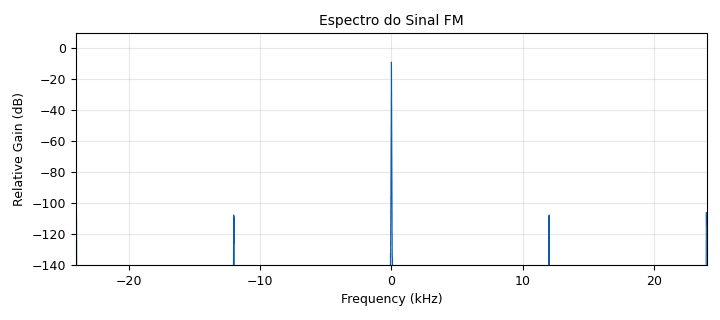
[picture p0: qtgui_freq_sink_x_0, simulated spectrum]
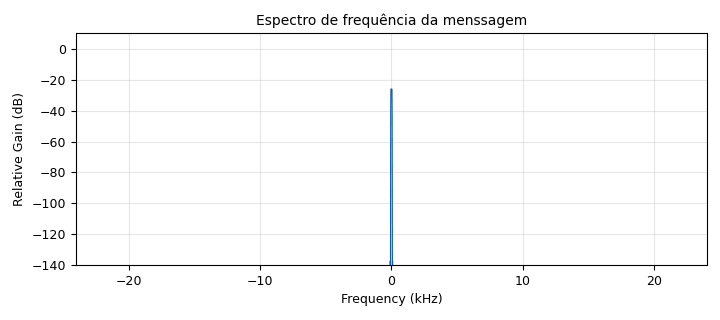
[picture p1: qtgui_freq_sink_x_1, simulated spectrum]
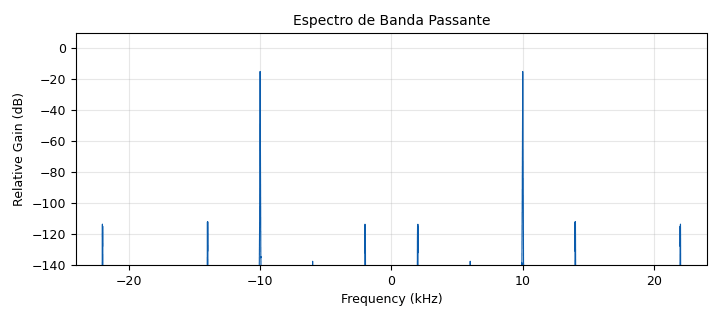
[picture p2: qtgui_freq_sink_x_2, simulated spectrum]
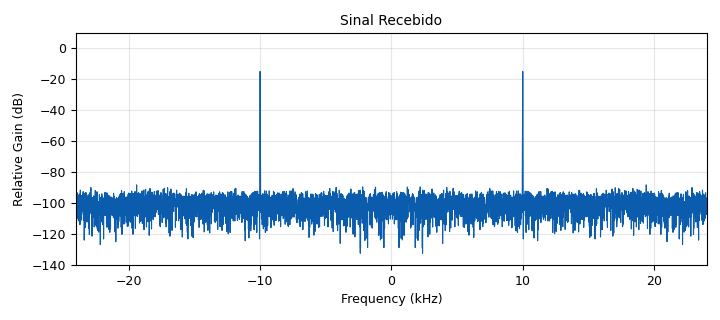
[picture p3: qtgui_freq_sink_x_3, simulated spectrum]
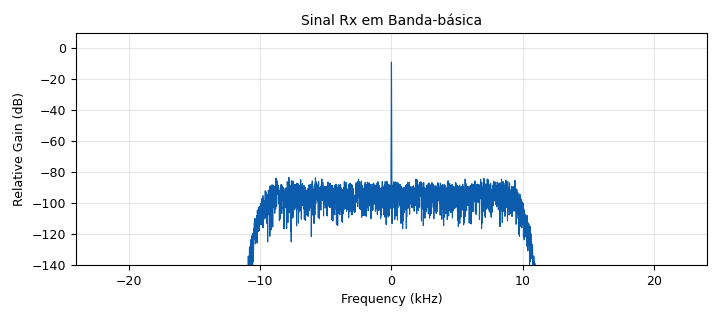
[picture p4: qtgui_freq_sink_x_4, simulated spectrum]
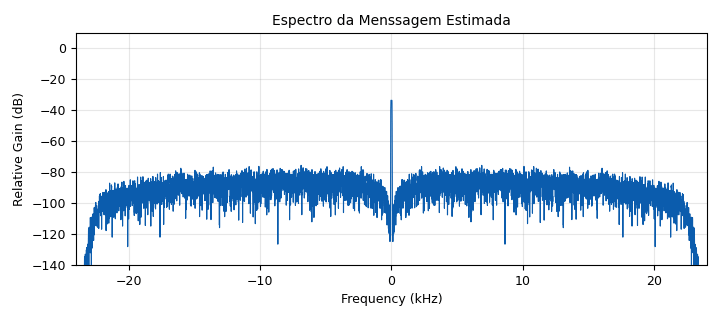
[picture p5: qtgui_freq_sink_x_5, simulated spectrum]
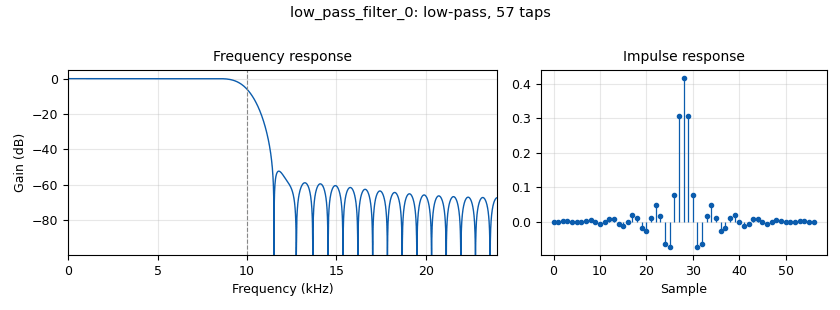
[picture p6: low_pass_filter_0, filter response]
options:
  parameters:
    author: Daniel C. Araújo
    generate_options: qt_gui
    id: aula_13
    output_language: python
    title: Aula 13 - Modulação FM
  states: {}

blocks:
- name: B
  id: variable
  parameters:
    value: '100/3.14 '
  states: {}
- name: SNR_dB
  id: variable_qtgui_range
  parameters:
    label: SNR (dB)
    start: '10'
    step: '1'
    stop: '100'
    value: '50'
  states: {}
- name: W
  id: variable
  parameters:
    value: 10e3
  states: {}
- name: decimation
  id: variable
  parameters:
    value: '4'
  states: {}
- name: f_c
  id: variable
  parameters:
    value: 10e3
  states: {}
- name: k_f
  id: variable_qtgui_range
  parameters:
    label: constante de proporcionalidade FM
    start: '10'
    step: '1'
    stop: '200'
    value: '10'
  states: {}
- name: menssagem_dB
  id: variable_qtgui_range
  parameters:
    label: Ganho da mensagem
    start: '0'
    step: '1'
    stop: '100'
    value: '50'
  states: {}
- name: nPoints
  id: variable
  parameters:
    value: int(2*t_max*samp_rate)
  states: {}
- name: n_amplitude
  id: variable
  parameters:
    value: 10**(-SNR_dB/20)
  states: {}
- name: samp_rate
  id: variable
  parameters:
    value: '48000'
  states: {}
- name: t_max
  id: variable
  parameters:
    value: '0.1'
  states: {}
- name: analog_noise_source_x_0
  id: analog_noise_source_x
  parameters:
    amp: n_amplitude
    noise_type: analog.GR_GAUSSIAN
    seed: '0'
    type: complex
  states: {}
- name: analog_sig_source_x_0
  id: analog_sig_source_x
  parameters:
    amp: '1'
    freq: f_c
    offset: '0'
    phase: '0'
    samp_rate: samp_rate
    type: float
    waveform: analog.GR_COS_WAVE
  states: {}
- name: analog_sig_source_x_1
  id: analog_sig_source_x
  parameters:
    amp: '-1'
    freq: f_c
    offset: '0'
    phase: '0'
    samp_rate: samp_rate
    type: float
    waveform: analog.GR_SIN_WAVE
  states: {}
- name: analog_wfm_rcv_0
  id: analog_wfm_rcv
  parameters:
    audio_decimation: decimation
    quad_rate: decimation*samp_rate
  states: {}
- name: analog_wfm_tx_0
  id: analog_wfm_tx
  parameters:
    audio_rate: int(samp_rate)
    fh: '-1.0'
    max_dev: k_f
    quad_rate: int(decimation*samp_rate)
    tau: '75e-6'
  states: {}
- name: blocks_add_xx_0
  id: blocks_add_xx
  parameters:
    type: float
  states: {}
- name: blocks_add_xx_0_0
  id: blocks_add_xx
  parameters:
    type: float
  states: {}
- name: blocks_add_xx_1
  id: blocks_add_xx
  parameters:
    type: float
  states: {}
- name: blocks_complex_to_imag_0
  id: blocks_complex_to_imag
  parameters: {}
  states: {}
- name: blocks_complex_to_imag_0_0
  id: blocks_complex_to_imag
  parameters: {}
  states: {}
- name: blocks_complex_to_mag_squared_0
  id: blocks_complex_to_mag_squared
  parameters: {}
  states: {}
- name: blocks_complex_to_real_0
  id: blocks_complex_to_real
  parameters: {}
  states: {}
- name: blocks_complex_to_real_0_0
  id: blocks_complex_to_real
  parameters: {}
  states: {}
- name: blocks_float_to_complex_0
  id: blocks_float_to_complex
  parameters: {}
  states: {}
- name: blocks_integrate_xx_0
  id: blocks_integrate_xx
  parameters:
    decim: nPoints
    type: float
  states: {}
- name: blocks_multiply_const_vxx_0
  id: blocks_multiply_const_vxx
  parameters:
    const: k_f
    type: float
  states: {}
- name: blocks_multiply_const_vxx_1
  id: blocks_multiply_const_vxx
  parameters:
    const: 1/nPoints
    type: float
  states: {}
- name: blocks_multiply_const_vxx_2
  id: blocks_multiply_const_vxx
  parameters:
    const: '2'
    type: float
  states: {}
- name: blocks_multiply_const_vxx_2_0
  id: blocks_multiply_const_vxx
  parameters:
    const: '2'
    type: float
  states: {}
- name: blocks_multiply_const_vxx_3
  id: blocks_multiply_const_vxx
  parameters:
    const: 10**(menssagem_dB/20)
    type: float
  states: {}
- name: blocks_multiply_xx_0
  id: blocks_multiply_xx
  parameters:
    type: float
  states: {}
- name: blocks_multiply_xx_0_0
  id: blocks_multiply_xx
  parameters:
    type: float
  states: {}
- name: blocks_multiply_xx_0_0_0
  id: blocks_multiply_xx
  parameters:
    type: float
  states: {}
- name: blocks_multiply_xx_0_0_0_0
  id: blocks_multiply_xx
  parameters:
    type: float
  states: {}
- name: blocks_multiply_xx_0_0_0_0_0
  id: blocks_multiply_xx
  parameters:
    type: float
  states: {}
- name: blocks_multiply_xx_0_1
  id: blocks_multiply_xx
  parameters:
    type: float
  states: {}
- name: blocks_throttle_0
  id: blocks_throttle
  parameters:
    samples_per_second: samp_rate
    type: float
  states: {}
- name: blocks_vector_source_x_0
  id: blocks_vector_source_x
  parameters:
    repeat: 'True'
    type: float
    vector: m.message(B,t_max,samp_rate)
  states: {}
- name: low_pass_filter_0
  id: low_pass_filter
  parameters:
    cutoff_freq: W
    decim: '1'
    gain: '1'
    samp_rate: samp_rate
    type: fir_filter_fff
    width: 2e3
    win: window.WIN_HAMMING
  states: {}
- name: low_pass_filter_0_0
  id: low_pass_filter
  parameters:
    cutoff_freq: W
    decim: '1'
    gain: '1'
    samp_rate: samp_rate
    type: fir_filter_fff
    width: 2e3
    win: window.WIN_HAMMING
  states: {}
- name: low_pass_filter_0_0_0
  id: low_pass_filter
  parameters:
    cutoff_freq: W
    decim: '1'
    gain: '1'
    samp_rate: samp_rate
    type: fir_filter_ccf
    width: 2e3
    win: window.WIN_HAMMING
  states: {}
- name: m
  id: epy_module
  parameters:
    source_code: "# this module will be imported in the into your flowgraph\n\nimport numpy as np\n\n\ndef message(B,t_max,samp_rate):\n    \n    nPoints = int(samp_rate*(2*t_max))\n    t = np.linspace(-t_max,t_max,nPoints)\n    m = np.sinc(B*np.pi*t)\n\n    return list(m)\n\n"
  states: {}
- name: qtgui_freq_sink_x_0
  id: qtgui_freq_sink_x
  parameters:
    bw: samp_rate
    fc: '0'
    fftsize: nPoints
    name: Espectro do Sinal FM
    type: complex
  states: {}
- name: qtgui_freq_sink_x_1
  id: qtgui_freq_sink_x
  parameters:
    bw: samp_rate
    fc: '0'
    fftsize: nPoints
    name: 'Espectro de frequência da menssagem '
    type: float
  states: {}
- name: qtgui_freq_sink_x_2
  id: qtgui_freq_sink_x
  parameters:
    bw: samp_rate
    fc: '0'
    fftsize: nPoints
    name: Espectro de Banda Passante
    type: float
  states: {}
- name: qtgui_freq_sink_x_3
  id: qtgui_freq_sink_x
  parameters:
    bw: samp_rate
    fc: '0'
    fftsize: nPoints
    name: Sinal Recebido
    type: float
  states: {}
- name: qtgui_freq_sink_x_4
  id: qtgui_freq_sink_x
  parameters:
    bw: samp_rate
    fc: '0'
    fftsize: nPoints
    name: Sinal Rx em Banda-básica
    type: complex
  states: {}
- name: qtgui_freq_sink_x_5
  id: qtgui_freq_sink_x
  parameters:
    bw: samp_rate
    fc: '0'
    fftsize: nPoints
    name: Espectro da Menssagem Estimada
    type: float
  states: {}
- name: qtgui_number_sink_0
  id: qtgui_number_sink
  parameters:
    autoscale: 'True'
    graph_type: qtgui.NUM_GRAPH_NONE
    name: Potência de Banda Básica
    type: float
  states: {}
- name: qtgui_time_sink_x_0
  id: qtgui_time_sink_x
  parameters:
    name: Sinal FM
    size: nPoints
    srate: samp_rate
    type: complex
  states: {}
- name: qtgui_time_sink_x_1
  id: qtgui_time_sink_x
  parameters:
    name: 'Message '
    size: nPoints
    srate: samp_rate
    type: float
  states: {}
- name: qtgui_time_sink_x_2
  id: qtgui_time_sink_x
  parameters:
    label1: Menssagem Original
    label2: Menssagem Estimada
    name: Menssagem estimada
    nconnections: '2'
    size: nPoints
    srate: samp_rate
    style1: '2'
    type: float
  states: {}
- name: virtual_sink_0
  id: virtual_sink
  parameters:
    stream_id: message
  states: {}
- name: virtual_sink_1
  id: virtual_sink
  parameters:
    stream_id: sinal_fm_bandabasica
  states: {}
- name: virtual_sink_2
  id: virtual_sink
  parameters:
    stream_id: LO_cos
  states: {}
- name: virtual_sink_2_0
  id: virtual_sink
  parameters:
    stream_id: LO_sen
  states: {}
- name: virtual_sink_3
  id: virtual_sink
  parameters:
    stream_id: sinal_tx
  states: {}
- name: virtual_sink_4
  id: virtual_sink
  parameters:
    stream_id: sinal_rx
  states: {}
- name: virtual_sink_5
  id: virtual_sink
  parameters:
    stream_id: rx_bandabasica
  states: {}
- name: virtual_source_0
  id: virtual_source
  parameters:
    stream_id: message
  states: {}
- name: virtual_source_1
  id: virtual_source
  parameters:
    stream_id: sinal_fm_bandabasica
  states: {}
- name: virtual_source_1_0
  id: virtual_source
  parameters:
    stream_id: sinal_fm_bandabasica
  states: {}
- name: virtual_source_2
  id: virtual_source
  parameters:
    stream_id: LO_cos
  states: {}
- name: virtual_source_2_0
  id: virtual_source
  parameters:
    stream_id: LO_sen
  states: {}
- name: virtual_source_2_0_0
  id: virtual_source
  parameters:
    stream_id: LO_sen
  states: {}
- name: virtual_source_2_0_1
  id: virtual_source
  parameters:
    stream_id: LO_sen
  states: {}
- name: virtual_source_2_1
  id: virtual_source
  parameters:
    stream_id: LO_cos
  states: {}
- name: virtual_source_2_2
  id: virtual_source
  parameters:
    stream_id: LO_cos
  states: {}
- name: virtual_source_3
  id: virtual_source
  parameters:
    stream_id: sinal_tx
  states: {}
- name: virtual_source_4
  id: virtual_source
  parameters:
    stream_id: sinal_rx
  states: {}
- name: virtual_source_5
  id: virtual_source
  parameters:
    stream_id: rx_bandabasica
  states: {}
- name: virtual_source_6
  id: virtual_source
  parameters:
    stream_id: message
  states: {}

connections:
- [analog_noise_source_x_0, '0', blocks_complex_to_imag_0_0, '0']
- [analog_noise_source_x_0, '0', blocks_complex_to_real_0_0, '0']
- [analog_sig_source_x_0, '0', virtual_sink_2, '0']
- [analog_sig_source_x_1, '0', virtual_sink_2_0, '0']
- [analog_wfm_rcv_0, '0', blocks_multiply_const_vxx_3, '0']
- [analog_wfm_tx_0, '0', qtgui_freq_sink_x_0, '0']
- [analog_wfm_tx_0, '0', qtgui_time_sink_x_0, '0']
- [analog_wfm_tx_0, '0', virtual_sink_1, '0']
- [blocks_add_xx_0, '0', qtgui_freq_sink_x_2, '0']
- [blocks_add_xx_0, '0', virtual_sink_3, '0']
- [blocks_add_xx_0_0, '0', blocks_add_xx_1, '1']
- [blocks_add_xx_1, '0', qtgui_freq_sink_x_3, '0']
- [blocks_add_xx_1, '0', virtual_sink_4, '0']
- [blocks_complex_to_imag_0, '0', blocks_multiply_xx_0_0, '0']
- [blocks_complex_to_imag_0_0, '0', blocks_multiply_xx_0_0_0, '0']
- [blocks_complex_to_mag_squared_0, '0', blocks_integrate_xx_0, '0']
- [blocks_complex_to_real_0, '0', blocks_multiply_xx_0, '1']
- [blocks_complex_to_real_0_0, '0', blocks_multiply_xx_0_1, '1']
- [blocks_float_to_complex_0, '0', low_pass_filter_0_0_0, '0']
- [blocks_integrate_xx_0, '0', blocks_multiply_const_vxx_1, '0']
- [blocks_multiply_const_vxx_0, '0', analog_wfm_tx_0, '0']
- [blocks_multiply_const_vxx_1, '0', qtgui_number_sink_0, '0']
- [blocks_multiply_const_vxx_2, '0', blocks_multiply_xx_0_0_0_0, '0']
- [blocks_multiply_const_vxx_2_0, '0', blocks_multiply_xx_0_0_0_0_0, '1']
- [blocks_multiply_const_vxx_3, '0', qtgui_freq_sink_x_5, '0']
- [blocks_multiply_const_vxx_3, '0', qtgui_time_sink_x_2, '0']
- [blocks_multiply_xx_0, '0', blocks_add_xx_0, '0']
- [blocks_multiply_xx_0_0, '0', blocks_add_xx_0, '1']
- [blocks_multiply_xx_0_0_0, '0', blocks_add_xx_0_0, '1']
- [blocks_multiply_xx_0_0_0_0, '0', low_pass_filter_0, '0']
- [blocks_multiply_xx_0_0_0_0_0, '0', low_pass_filter_0_0, '0']
- [blocks_multiply_xx_0_1, '0', blocks_add_xx_0_0, '0']
- [blocks_throttle_0, '0', blocks_multiply_const_vxx_0, '0']
- [blocks_throttle_0, '0', virtual_sink_0, '0']
- [blocks_vector_source_x_0, '0', blocks_throttle_0, '0']
- [low_pass_filter_0, '0', blocks_float_to_complex_0, '0']
- [low_pass_filter_0_0, '0', blocks_float_to_complex_0, '1']
- [low_pass_filter_0_0_0, '0', qtgui_freq_sink_x_4, '0']
- [low_pass_filter_0_0_0, '0', virtual_sink_5, '0']
- [virtual_source_0, '0', qtgui_freq_sink_x_1, '0']
- [virtual_source_0, '0', qtgui_time_sink_x_1, '0']
- [virtual_source_1, '0', blocks_complex_to_mag_squared_0, '0']
- [virtual_source_1_0, '0', blocks_complex_to_imag_0, '0']
- [virtual_source_1_0, '0', blocks_complex_to_real_0, '0']
- [virtual_source_2, '0', blocks_multiply_xx_0, '0']
- [virtual_source_2_0, '0', blocks_multiply_xx_0_0, '1']
- [virtual_source_2_0_0, '0', blocks_multiply_xx_0_0_0, '1']
- [virtual_source_2_0_1, '0', blocks_multiply_const_vxx_2_0, '0']
- [virtual_source_2_1, '0', blocks_multiply_xx_0_1, '0']
- [virtual_source_2_2, '0', blocks_multiply_const_vxx_2, '0']
- [virtual_source_3, '0', blocks_add_xx_1, '0']
- [virtual_source_4, '0', blocks_multiply_xx_0_0_0_0, '1']
- [virtual_source_4, '0', blocks_multiply_xx_0_0_0_0_0, '0']
- [virtual_source_5, '0', analog_wfm_rcv_0, '0']
- [virtual_source_6, '0', qtgui_time_sink_x_2, '1']

metadata:
  file_format: 1
